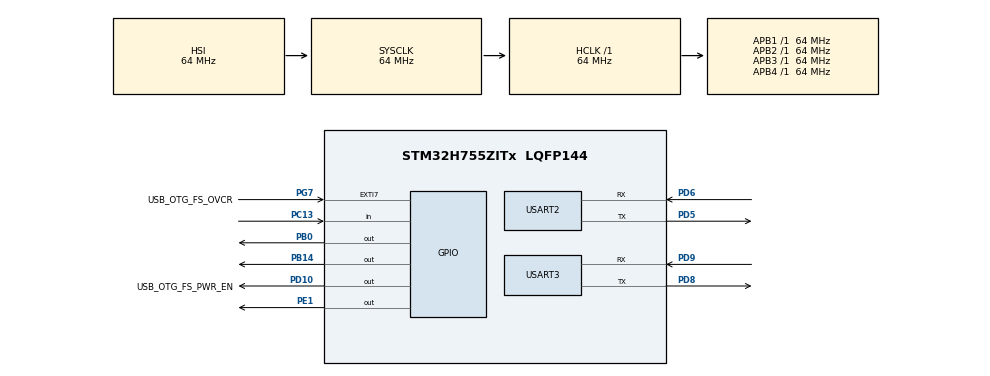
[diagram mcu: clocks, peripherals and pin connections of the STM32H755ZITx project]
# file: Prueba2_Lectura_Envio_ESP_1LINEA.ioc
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CortexM4.IPs=FATFS_M4\:I,FREERTOS_M4\:I,IWDG2\:I,RCC,WWDG2\:I,DMA,BDMA,MDMA,NVIC2\:I,ETH,USART3,DEBUG,PDM2PCM_M4\:I,PWR,RESMGR_UTILITY,SYS_M4\:I,USB_DEVICE_M4\:I,USB_HOST_M4\:I,CORTEX_M4\:I,GPIO,OPENAMP_M4\:I,VREFBUF,NUCLEO-H755ZI-Q
CortexM7.IPs=FATFS_M7\:I,FREERTOS_M7\:I,IWDG1\:I,RCC\:I,WWDG1\:I,DMA\:I,BDMA\:I,MDMA\:I,NVIC1\:I,ETH\:I,USART3\:I,USB_OTG_FS\:I,SYS\:I,CORTEX_M7\:I,DEBUG\:I,PDM2PCM_M7\:I,PWR\:I,RESMGR_UTILITY\:I,USB_DEVICE_M7\:I,USB_HOST_M7\:I,GPIO\:I,OPENAMP_M7\:I,VREFBUF\:I,NUCLEO-H755ZI-Q\:I,MEMORYMAP\:I,USART2\:I
Mcu.Family=STM32H7
Mcu.Name=STM32H755ZITx
Mcu.Package=LQFP144
NVIC1.PriorityGroup=NVIC_PRIORITYGROUP_4
NVIC2.PriorityGroup=NVIC_PRIORITYGROUP_4
PA1.PinAttribute=CortexM7
PA1.Signal=ETH_REF_CLK
PA11.PinAttribute=CortexM7
PA11.Signal=USB_OTG_FS_DM
PA12.PinAttribute=CortexM7
PA12.Signal=USB_OTG_FS_DP
PA2.PinAttribute=CortexM7
PA2.Signal=ETH_MDIO
PA7.PinAttribute=CortexM7
PA7.Signal=ETH_CRS_DV
PA8.PinAttribute=CortexM7
PA8.Signal=USB_OTG_FS_SOF
PA9.PinAttribute=CortexM7
PA9.Signal=USB_OTG_FS_VBUS
PB0.PinAttribute=Free
PB0.Signal=GPIO_Output
PB13.PinAttribute=CortexM7
PB13.Signal=ETH_TXD1
PB14.PinAttribute=Free
PB14.Signal=GPIO_Output
PC1.PinAttribute=CortexM7
PC1.Signal=ETH_MDC
PC13.PinAttribute=Free
PC13.Signal=GPIO_Input
PC14-OSC32_IN\ (OSC32_IN).PinAttribute=Free
PC14-OSC32_IN\ (OSC32_IN).Signal=RCC_OSC32_IN
PC15-OSC32_OUT\ (OSC32_OUT).PinAttribute=Free
PC15-OSC32_OUT\ (OSC32_OUT).Signal=RCC_OSC32_OUT
PC4.PinAttribute=CortexM7
PC4.Signal=ETH_RXD0
PC5.PinAttribute=CortexM7
PC5.Signal=ETH_RXD1
PD10.GPIO_Label=USB_OTG_FS_PWR_EN
PD10.PinAttribute=Free
PD10.Signal=GPIO_Output
PD5.Mode=Asynchronous
PD5.PinAttribute=CortexM7
PD5.Signal=USART2_TX
PD6.Mode=Asynchronous
PD6.PinAttribute=CortexM7
PD6.Signal=USART2_RX
PD8.Mode=Asynchronous
PD8.PinAttribute=CortexM7
PD8.Signal=USART3_TX
PD9.Mode=Asynchronous
PD9.PinAttribute=CortexM7
PD9.Signal=USART3_RX
PE1.PinAttribute=Free
PE1.Signal=GPIO_Output
PG11.PinAttribute=CortexM7
PG11.Signal=ETH_TX_EN
PG13.PinAttribute=CortexM7
PG13.Signal=ETH_TXD0
PG7.GPIO_Label=USB_OTG_FS_OVCR
PG7.PinAttribute=Free
PG7.Signal=GPXTI7
PH0-OSC_IN\ (PH0).PinAttribute=Free
PH0-OSC_IN\ (PH0).Signal=RCC_OSC_IN
PH1-OSC_OUT\ (PH1).PinAttribute=Free
PH1-OSC_OUT\ (PH1).Signal=RCC_OSC_OUT
ProjectManager.HeapSize=M4-0x200,M7-0x200
ProjectManager.StackSize=M4-0x400,M7-0x400
ProjectManager.TargetToolchain=STM32CubeIDE
RCC.ADCFreq_Value=129000000
RCC.APB1Freq_Value=64000000
RCC.APB2Freq_Value=64000000
RCC.APB3Freq_Value=64000000
RCC.APB4Freq_Value=64000000
RCC.CortexFreq_Value=64000000
RCC.DIVM1=5
RCC.DIVN1=48
RCC.DIVQ1=5
RCC.HCLKFreq_Value=64000000
RCC.PLL2FRACN=0
RCC.PLL3FRACN=0
RCC.PLLFRACN=0
RCC.SYSCLKFreq_VALUE=64000000
RCC.SupplySource=PWR_DIRECT_SMPS_SUPPLY
RCC.USBFreq_Value=122880000
USART2.VirtualMode-Asynchronous=VM_ASYNC
USART3.VirtualMode-Asynchronous=VM_ASYNC
VP_MEMORYMAP_VS_MEMORYMAP.Mode=CurAppReg
VP_SYS_M4_VS_Systick.Mode=SysTick
board=NUCLEO-H755ZI-Q

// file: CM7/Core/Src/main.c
/* USER CODE BEGIN Header */
/**
  ******************************************************************************
  * @file           : main.c
  * @brief          : Main program body
  ******************************************************************************
  * @attention
  *
  * Copyright (c) 2025 STMicroelectronics.
  * All rights reserved.
  *
  * This software is licensed under terms that can be found in the LICENSE file
  * in the root directory of this software component.
  * If no LICENSE file comes with this software, it is provided AS-IS.
  *
  ******************************************************************************
  */
/* USER CODE END Header */
#include "main.h"

/* USER CODE BEGIN Includes */
#include <string.h>
#include <stdio.h>
#include <stdlib.h>
#include <math.h>
/* USER CODE END Includes */

/* USER CODE BEGIN PTD */

typedef struct {
    int nodo_id;
    float x, y, z;
    float temperatura;
    float humedad;
    int aqi;
    int tvoc;
    float eco2;
    int received;
} NodoData;

NodoData nodos[3] = {0};

uint32_t lastResetTime = 0;   // para timeout
const uint32_t timeoutMs = 1500; // 1.5 seg límite para promedios

void parseNodo(char *msg);
void procesarPromedio(void);

/* USER CODE END PTD */

/* USER CODE BEGIN PD */

/* DUAL_CORE_BOOT_SYNC_SEQUENCE: Define for dual core boot synchronization    */
/*                             demonstration code based on hardware semaphore */
/* This define is present in both CM7/CM4 projects                            */
/* To comment when developping/debugging on a single core                     */
//#define DUAL_CORE_BOOT_SYNC_SEQUENCE

#if defined(DUAL_CORE_BOOT_SYNC_SEQUENCE)
#ifndef HSEM_ID_0
#define HSEM_ID_0 (0U) /* HW semaphore 0*/
#endif
#endif /* DUAL_CORE_BOOT_SYNC_SEQUENCE */

/* USER CODE END PD */

UART_HandleTypeDef huart2;
UART_HandleTypeDef huart3;

void SystemClock_Config(void);
static void MX_GPIO_Init(void);
static void MX_USART2_UART_Init(void);
static void MX_USART3_UART_Init(void);

int main(void)
{

/* USER CODE BEGIN Boot_Mode_Sequence_0 */
#if defined(DUAL_CORE_BOOT_SYNC_SEQUENCE)
  int32_t timeout;
#endif /* DUAL_CORE_BOOT_SYNC_SEQUENCE */
/* USER CODE END Boot_Mode_Sequence_0 */

/* USER CODE BEGIN Boot_Mode_Sequence_1 */
#if defined(DUAL_CORE_BOOT_SYNC_SEQUENCE)
  /* Wait until CPU2 boots and enters in stop mode or timeout*/
  timeout = 0xFFFF;
  while((__HAL_RCC_GET_FLAG(RCC_FLAG_D2CKRDY) != RESET) && (timeout-- > 0));
  if ( timeout < 0 )
  {
  Error_Handler();
  }
#endif /* DUAL_CORE_BOOT_SYNC_SEQUENCE */
/* USER CODE END Boot_Mode_Sequence_1 */
  /* MCU Configuration--------------------------------------------------------*/

  /* Reset of all peripherals, Initializes the Flash interface and the Systick. */
  HAL_Init();

  /* Configure the system clock */
  SystemClock_Config();
/* USER CODE BEGIN Boot_Mode_Sequence_2 */
#if defined(DUAL_CORE_BOOT_SYNC_SEQUENCE)
/* When system initialization is finished, Cortex-M7 will release Cortex-M4 by means of
HSEM notification */
/*HW semaphore Clock enable*/
__HAL_RCC_HSEM_CLK_ENABLE();
/*Take HSEM */
HAL_HSEM_FastTake(HSEM_ID_0);
/*Release HSEM in order to notify the CPU2(CM4)*/
HAL_HSEM_Release(HSEM_ID_0,0);
/* wait until CPU2 wakes up from stop mode */
timeout = 0xFFFF;
while((__HAL_RCC_GET_FLAG(RCC_FLAG_D2CKRDY) == RESET) && (timeout-- > 0));
if ( timeout < 0 )
{
Error_Handler();
}
#endif /* DUAL_CORE_BOOT_SYNC_SEQUENCE */
/* USER CODE END Boot_Mode_Sequence_2 */

  /* Initialize all configured peripherals */
  MX_GPIO_Init();
  MX_USART2_UART_Init();
  MX_USART3_UART_Init();

  /* Infinite loop */
  /* USER CODE BEGIN WHILE */
  while (1)
  {
	  static uint8_t buffer[300];
	  static uint16_t idx = 0;
	  uint8_t byte;

	  if (HAL_UART_Receive(&huart2, &byte, 1, 100) == HAL_OK)
	  {
		  buffer[idx++] = byte;

		  if (byte == '\n')
		  {
			  buffer[idx] = '\0'; // convertir en string

			  // 1️⃣ Mostrar lo recibido
//			  HAL_UART_Transmit(&huart3, buffer, idx, 1000);
//			  HAL_UART_Transmit(&huart3, (uint8_t*)"\r\n", 2, 100);

			  // 2️⃣ Procesar el nodo
			  parseNodo((char*)buffer);

			  // reiniciar buffer
			  idx = 0;
			  memset(buffer, 0, sizeof(buffer));

			  // 3️⃣ Intentar sacar promedios
			  procesarPromedio();
		  }
	  }
    /* USER CODE END WHILE */

  }
}

void SystemClock_Config(void)
{
  RCC_OscInitTypeDef RCC_OscInitStruct = {0};
  RCC_ClkInitTypeDef RCC_ClkInitStruct = {0};

  /** Supply configuration update enable
  */
  HAL_PWREx_ConfigSupply(PWR_DIRECT_SMPS_SUPPLY);

  /** Configure the main internal regulator output voltage
  */
  __HAL_PWR_VOLTAGESCALING_CONFIG(PWR_REGULATOR_VOLTAGE_SCALE3);

  while(!__HAL_PWR_GET_FLAG(PWR_FLAG_VOSRDY)) {}

  /** Initializes the RCC Oscillators according to the specified parameters
  * in the RCC_OscInitTypeDef structure.
  */
  RCC_OscInitStruct.OscillatorType = RCC_OSCILLATORTYPE_HSI;
  RCC_OscInitStruct.HSIState = RCC_HSI_DIV1;
  RCC_OscInitStruct.HSICalibrationValue = RCC_HSICALIBRATION_DEFAULT;
  RCC_OscInitStruct.PLL.PLLState = RCC_PLL_NONE;
  if (HAL_RCC_OscConfig(&RCC_OscInitStruct) != HAL_OK)
  {
    Error_Handler();
  }

  /** Initializes the CPU, AHB and APB buses clocks
  */
  RCC_ClkInitStruct.ClockType = RCC_CLOCKTYPE_HCLK|RCC_CLOCKTYPE_SYSCLK
                              |RCC_CLOCKTYPE_PCLK1|RCC_CLOCKTYPE_PCLK2
                              |RCC_CLOCKTYPE_D3PCLK1|RCC_CLOCKTYPE_D1PCLK1;
  RCC_ClkInitStruct.SYSCLKSource = RCC_SYSCLKSOURCE_HSI;
  RCC_ClkInitStruct.SYSCLKDivider = RCC_SYSCLK_DIV1;
  RCC_ClkInitStruct.AHBCLKDivider = RCC_HCLK_DIV1;
  RCC_ClkInitStruct.APB3CLKDivider = RCC_APB3_DIV1;
  RCC_ClkInitStruct.APB1CLKDivider = RCC_APB1_DIV1;
  RCC_ClkInitStruct.APB2CLKDivider = RCC_APB2_DIV1;
  RCC_ClkInitStruct.APB4CLKDivider = RCC_APB4_DIV1;

  if (HAL_RCC_ClockConfig(&RCC_ClkInitStruct, FLASH_LATENCY_1) != HAL_OK)
  {
    Error_Handler();
  }
}

static void MX_USART2_UART_Init(void)
{

  huart2.Instance = USART2;
  huart2.Init.BaudRate = 115200;
  huart2.Init.WordLength = UART_WORDLENGTH_8B;
  huart2.Init.StopBits = UART_STOPBITS_1;
  huart2.Init.Parity = UART_PARITY_NONE;
  huart2.Init.Mode = UART_MODE_TX_RX;
  huart2.Init.HwFlowCtl = UART_HWCONTROL_NONE;
  huart2.Init.OverSampling = UART_OVERSAMPLING_16;
  huart2.Init.OneBitSampling = UART_ONE_BIT_SAMPLE_DISABLE;
  huart2.Init.ClockPrescaler = UART_PRESCALER_DIV1;
  huart2.AdvancedInit.AdvFeatureInit = UART_ADVFEATURE_NO_INIT;
  if (HAL_UART_Init(&huart2) != HAL_OK)
  {
    Error_Handler();
  }
  if (HAL_UARTEx_SetTxFifoThreshold(&huart2, UART_TXFIFO_THRESHOLD_1_8) != HAL_OK)
  {
    Error_Handler();
  }
  if (HAL_UARTEx_SetRxFifoThreshold(&huart2, UART_RXFIFO_THRESHOLD_1_8) != HAL_OK)
  {
    Error_Handler();
  }
  if (HAL_UARTEx_DisableFifoMode(&huart2) != HAL_OK)
  {
    Error_Handler();
  }

}

static void MX_USART3_UART_Init(void)
{

  huart3.Instance = USART3;
  huart3.Init.BaudRate = 115200;
  huart3.Init.WordLength = UART_WORDLENGTH_8B;
  huart3.Init.StopBits = UART_STOPBITS_1;
  huart3.Init.Parity = UART_PARITY_NONE;
  huart3.Init.Mode = UART_MODE_TX_RX;
  huart3.Init.HwFlowCtl = UART_HWCONTROL_NONE;
  huart3.Init.OverSampling = UART_OVERSAMPLING_16;
  huart3.Init.OneBitSampling = UART_ONE_BIT_SAMPLE_DISABLE;
  huart3.Init.ClockPrescaler = UART_PRESCALER_DIV1;
  huart3.AdvancedInit.AdvFeatureInit = UART_ADVFEATURE_NO_INIT;
  if (HAL_UART_Init(&huart3) != HAL_OK)
  {
    Error_Handler();
  }
  if (HAL_UARTEx_SetTxFifoThreshold(&huart3, UART_TXFIFO_THRESHOLD_1_8) != HAL_OK)
  {
    Error_Handler();
  }
  if (HAL_UARTEx_SetRxFifoThreshold(&huart3, UART_RXFIFO_THRESHOLD_1_8) != HAL_OK)
  {
    Error_Handler();
  }
  if (HAL_UARTEx_DisableFifoMode(&huart3) != HAL_OK)
  {
    Error_Handler();
  }

}

static void MX_GPIO_Init(void)
{
  GPIO_InitTypeDef GPIO_InitStruct = {0};

  /* GPIO Ports Clock Enable */
  __HAL_RCC_GPIOC_CLK_ENABLE();
  __HAL_RCC_GPIOA_CLK_ENABLE();
  __HAL_RCC_GPIOB_CLK_ENABLE();
  __HAL_RCC_GPIOD_CLK_ENABLE();
  __HAL_RCC_GPIOG_CLK_ENABLE();

  /*Configure GPIO pins : PC1 PC4 PC5 */
  GPIO_InitStruct.Pin = GPIO_PIN_1|GPIO_PIN_4|GPIO_PIN_5;
  GPIO_InitStruct.Mode = GPIO_MODE_AF_PP;
  GPIO_InitStruct.Pull = GPIO_NOPULL;
  GPIO_InitStruct.Speed = GPIO_SPEED_FREQ_LOW;
  GPIO_InitStruct.Alternate = GPIO_AF11_ETH;
  HAL_GPIO_Init(GPIOC, &GPIO_InitStruct);

  /*Configure GPIO pins : PA1 PA2 PA7 */
  GPIO_InitStruct.Pin = GPIO_PIN_1|GPIO_PIN_2|GPIO_PIN_7;
  GPIO_InitStruct.Mode = GPIO_MODE_AF_PP;
  GPIO_InitStruct.Pull = GPIO_NOPULL;
  GPIO_InitStruct.Speed = GPIO_SPEED_FREQ_LOW;
  GPIO_InitStruct.Alternate = GPIO_AF11_ETH;
  HAL_GPIO_Init(GPIOA, &GPIO_InitStruct);

  /*Configure GPIO pin : PB13 */
  GPIO_InitStruct.Pin = GPIO_PIN_13;
  GPIO_InitStruct.Mode = GPIO_MODE_AF_PP;
  GPIO_InitStruct.Pull = GPIO_NOPULL;
  GPIO_InitStruct.Speed = GPIO_SPEED_FREQ_LOW;
  GPIO_InitStruct.Alternate = GPIO_AF11_ETH;
  HAL_GPIO_Init(GPIOB, &GPIO_InitStruct);

  /*Configure GPIO pins : PA8 PA11 PA12 */
  GPIO_InitStruct.Pin = GPIO_PIN_8|GPIO_PIN_11|GPIO_PIN_12;
  GPIO_InitStruct.Mode = GPIO_MODE_AF_PP;
  GPIO_InitStruct.Pull = GPIO_NOPULL;
  GPIO_InitStruct.Speed = GPIO_SPEED_FREQ_LOW;
  GPIO_InitStruct.Alternate = GPIO_AF10_OTG1_FS;
  HAL_GPIO_Init(GPIOA, &GPIO_InitStruct);

  /*Configure GPIO pins : PG11 PG13 */
  GPIO_InitStruct.Pin = GPIO_PIN_11|GPIO_PIN_13;
  GPIO_InitStruct.Mode = GPIO_MODE_AF_PP;
  GPIO_InitStruct.Pull = GPIO_NOPULL;
  GPIO_InitStruct.Speed = GPIO_SPEED_FREQ_LOW;
  GPIO_InitStruct.Alternate = GPIO_AF11_ETH;
  HAL_GPIO_Init(GPIOG, &GPIO_InitStruct);

}

/* USER CODE BEGIN 4 */

void procesarPromedio(void) {

    uint32_t ahora = HAL_GetTick();

    int countXY = 0;
    int countEco2 = 0;

    float sumXY = 0;
    float sumEco2 = 0;

    for (int i = 0; i < 3; i++) {
        if (nodos[i].received) {
            float mag = sqrtf(nodos[i].x * nodos[i].x + nodos[i].y * nodos[i].y);
            sumXY += mag;
            sumEco2 += nodos[i].eco2;

            countXY++;
            countEco2++;
        }
    }

    // si no se recibió nada
    if (countXY == 0) {
        HAL_UART_Transmit(&huart3, (uint8_t*)"⚠ No se recibieron nodos\n", 28, 100);
        return;
    }

    // si ya pasaron 1500 ms → enviar promedios aunque falten nodos
    if (ahora - lastResetTime > timeoutMs) {

        float avgXY = sumXY / countXY;
        float avgEco2 = sumEco2 / countEco2;

        // Imprimir cada nodo recibido con sus valores reales
        for (int i = 0; i < 3; i++) {
            if (nodos[i].received) {
                char out[300];
                sprintf(out,
                        "[ESP_NODO_%d]X:%.2f;Y:%.2f;Z:%.2f;Temp:%.2f;Hum:%.2f;AQI:%d;TVOC:%d;eCO2:%.2f;PromXY:%.2f;PromECO2:%.2f\n\r",
                        nodos[i].nodo_id,
                        nodos[i].x,
                        nodos[i].y,
                        nodos[i].z,
                        nodos[i].temperatura,
                        nodos[i].humedad,
                        nodos[i].aqi,
                        nodos[i].tvoc,
                        nodos[i].eco2,
                        avgXY,
                        avgEco2);

                HAL_UART_Transmit(&huart3, (uint8_t*)out, strlen(out), 100);
                HAL_UART_Transmit(&huart2, (uint8_t*)out, strlen(out), 100);
            }
        }

        // reiniciar
        for (int i = 0; i < 3; i++) nodos[i].received = 0;
        lastResetTime = ahora;
    }
}

void parseNodo(char *msg) {

    int nodoID = -1;

    if (strstr(msg, "[ESP_NODO_1]")) nodoID = 0;
    else if (strstr(msg, "[ESP_NODO_2]")) nodoID = 1;
    else if (strstr(msg, "[ESP_NODO_3]")) nodoID = 2;
    else return; // no coincide con ningún nodo

    nodos[nodoID].nodo_id = nodoID + 1; // guardar número de nodo (1, 2 o 3)

    char *pX = strstr(msg, "X:");
    if (pX) nodos[nodoID].x = atof(pX + 2);

    char *pY = strstr(msg, "Y:");
    if (pY) nodos[nodoID].y = atof(pY + 2);

    char *pZ = strstr(msg, "Z:");
    if (pZ) nodos[nodoID].z = atof(pZ + 2);

    char *pT = strstr(msg, "Temp:");
    if (pT) nodos[nodoID].temperatura = atof(pT + 5);

    char *pH = strstr(msg, "Hum:");
    if (pH) nodos[nodoID].humedad = atof(pH + 4);

    char *pA = strstr(msg, "AQI:");
    if (pA) nodos[nodoID].aqi = atoi(pA + 4);

    char *pTV = strstr(msg, "TVOC:");
    if (pTV) nodos[nodoID].tvoc = atoi(pTV + 5);

    char *pE = strstr(msg, "eCO2:");
    if (pE) nodos[nodoID].eco2 = atof(pE + 5);

    nodos[nodoID].received = 1;
}

/* USER CODE END 4 */

void Error_Handler(void)
{
  __disable_irq();
  while (1)
  {
  }
}
